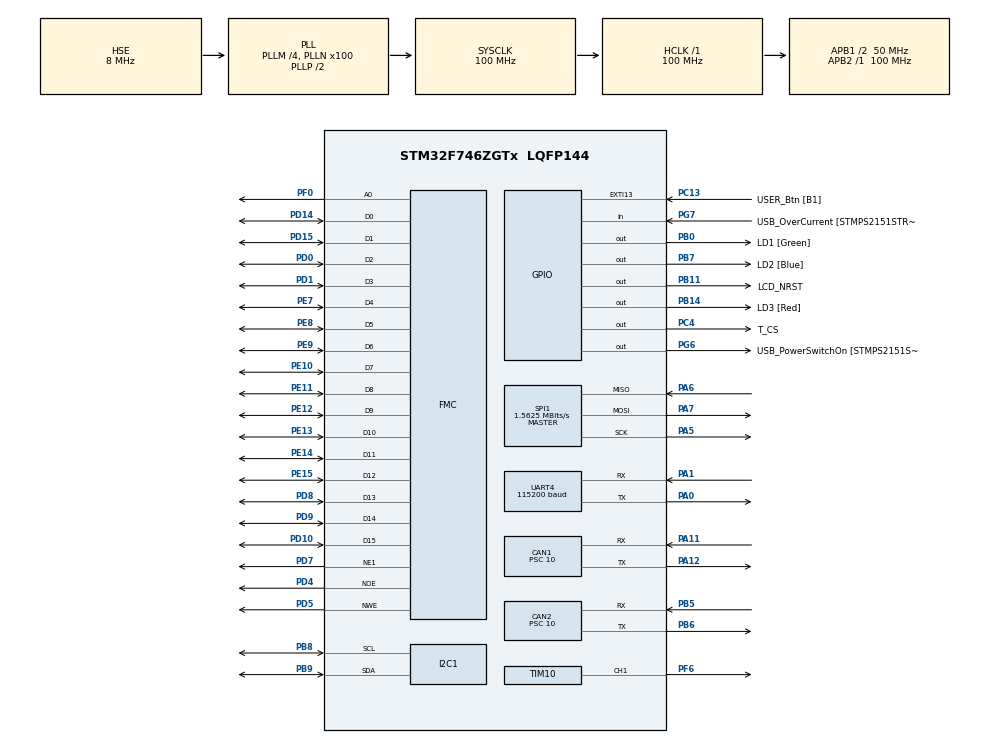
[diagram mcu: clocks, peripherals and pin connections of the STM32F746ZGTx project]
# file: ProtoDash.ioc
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CAN1.BS1=CAN_BS1_8TQ
CAN1.CalculateBaudRate=500000
CAN1.CalculateTimeBit=2000
CAN1.CalculateTimeQuantum=200.0
CAN1.Prescaler=10
CAN2.BS1=CAN_BS1_8TQ
CAN2.CalculateBaudRate=500000
CAN2.CalculateTimeBit=2000
CAN2.CalculateTimeQuantum=200.0
CAN2.Prescaler=10
FMC.AddressSetupTime1=3
FMC.BusTurnAroundDuration1=2
FMC.DataSetupTime1=2
FREERTOS.Tasks01=GUITask,24,1024,StartGUITask,Default,NULL,Dynamic,NULL,NULL;CANRxTask,40,512,StartCANRxTask,Default,NULL,Dynamic,NULL,NULL;CANTxTask,40,512,StartCANTxTask,Default,NULL,Dynamic,NULL,NULL;Heartbeat,8,512,StartHeartbeat,Default,NULL,Dynamic,NULL,NULL
FREERTOS.configCHECK_FOR_STACK_OVERFLOW=1
FREERTOS.configMINIMAL_STACK_SIZE=512
I2C1.Timing=0x00C0EAFF
Mcu.Family=STM32F7
Mcu.Name=STM32F746ZGTx
Mcu.Package=LQFP144
NVIC.CAN1_RX0_IRQn=true\:5\:0\:false\:false\:true\:true\:true\:true\:true
NVIC.PriorityGroup=NVIC_PRIORITYGROUP_4
NVIC.SPI1_IRQn=true\:5\:0\:false\:false\:true\:true\:true\:true\:true
NVIC.TIM6_DAC_IRQn=true\:15\:0\:false\:false\:true\:false\:false\:true\:true
NVIC.TimeBase=TIM6_DAC_IRQn
NVIC.TimeBaseIP=TIM6
PA0/WKUP.Mode=Asynchronous
PA0/WKUP.Signal=UART4_TX
PA1.Mode=Asynchronous
PA1.Signal=UART4_RX
PA11.Mode=CAN_Activate
PA11.Signal=CAN1_RX
PA12.Mode=CAN_Activate
PA12.Signal=CAN1_TX
PA13.GPIO_Label=TMS
PA13.Mode=Serial_Wire
PA13.Signal=SYS_JTMS-SWDIO
PA14.GPIO_Label=TCK
PA14.Mode=Serial_Wire
PA14.Signal=SYS_JTCK-SWCLK
PA5.Mode=Full_Duplex_Master
PA5.Signal=SPI1_SCK
PA6.Mode=Full_Duplex_Master
PA6.Signal=SPI1_MISO
PA7.Mode=Full_Duplex_Master
PA7.Signal=SPI1_MOSI
PB0.GPIO_Label=LD1 [Green]
PB0.Signal=GPIO_Output
PB11.GPIO_Label=LCD_NRST
PB11.Signal=GPIO_Output
PB14.GPIO_Label=LD3 [Red]
PB14.Signal=GPIO_Output
PB5.Mode=CAN_Activate
PB5.Signal=CAN2_RX
PB6.Mode=CAN_Activate
PB6.Signal=CAN2_TX
PB7.GPIO_Label=LD2 [Blue]
PB7.Signal=GPIO_Output
PB8.Mode=I2C
PB8.Signal=I2C1_SCL
PB9.Mode=I2C
PB9.Signal=I2C1_SDA
PC13.GPIO_Label=USER_Btn [B1]
PC13.Signal=GPXTI13
PC14/OSC32_IN.Mode=LSE-External-Oscillator
PC14/OSC32_IN.Signal=RCC_OSC32_IN
PC15/OSC32_OUT.Mode=LSE-External-Oscillator
PC15/OSC32_OUT.Signal=RCC_OSC32_OUT
PC4.GPIO_Label=T_CS
PC4.Signal=GPIO_Output
PD0.Signal=FMC_D2_DA2
PD1.Signal=FMC_D3_DA3
PD10.Signal=FMC_D15_DA15
PD14.Signal=FMC_D0_DA0
PD15.Signal=FMC_D1_DA1
PD4.Signal=FMC_NOE
PD5.Signal=FMC_NWE
PD7.Mode=NorPsramChipSelect1_1
PD7.Signal=FMC_NE1
PD8.Signal=FMC_D13_DA13
PD9.Signal=FMC_D14_DA14
PE10.Signal=FMC_D7_DA7
PE11.Signal=FMC_D8_DA8
PE12.Signal=FMC_D9_DA9
PE13.Signal=FMC_D10_DA10
PE14.Signal=FMC_D11_DA11
PE15.Signal=FMC_D12_DA12
PE7.Signal=FMC_D4_DA4
PE8.Signal=FMC_D5_DA5
PE9.Signal=FMC_D6_DA6
PF0.Signal=FMC_A0
PF6.Signal=S_TIM10_CH1
PG6.GPIO_Label=USB_PowerSwitchOn [STMPS2151STR_EN]
PG6.Signal=GPIO_Output
PG7.GPIO_Label=USB_OverCurrent [STMPS2151STR_FAULT]
PG7.Signal=GPIO_Input
PH0/OSC_IN.GPIO_Label=MCO [STM32F103CBT6_PA8]
PH0/OSC_IN.Mode=HSE-External-Clock-Source
PH0/OSC_IN.Signal=RCC_OSC_IN
PH1/OSC_OUT.Mode=HSE-External-Clock-Source
PH1/OSC_OUT.Signal=RCC_OSC_OUT
ProjectManager.HeapSize=0x200
ProjectManager.StackSize=0x400
ProjectManager.TargetToolchain=STM32CubeIDE
RCC.48MHZClocksFreq_Value=24000000
RCC.AHBFreq_Value=100000000
RCC.APB1CLKDivider=RCC_HCLK_DIV2
RCC.APB1Freq_Value=50000000
RCC.APB1TimFreq_Value=100000000
RCC.APB2Freq_Value=100000000
RCC.APB2TimFreq_Value=100000000
RCC.CortexFreq_Value=100000000
RCC.HCLKFreq_Value=100000000
RCC.HSE_VALUE=8000000
RCC.HSI_VALUE=16000000
RCC.PLL48CLockSelection=RCC_CLK48SOURCE_PLLSAIP
RCC.PLLM=4
RCC.PLLMUL=RCC_PLL_MUL9
RCC.PLLN=100
RCC.PLLSAIP=RCC_PLLSAIP_DIV8
RCC.PLLSourceVirtual=RCC_PLLSOURCE_HSE
RCC.PRESCALERUSB=RCC_USBCLKSOURCE_PLL_DIV1_5
RCC.SYSCLKFreq_VALUE=100000000
RCC.SYSCLKSource=RCC_SYSCLKSOURCE_PLLCLK
RCC.SYSCLKSourceVirtual=RCC_SYSCLKSOURCE_PLLCLK
RCC.USBFreq_Value=48000000
RCC.VCOOutputFreq_Value=200000000
SH.FMC_A0.0=FMC_A0,A0_1
SH.FMC_D0_DA0.0=FMC_D0,16b-d1
SH.FMC_D10_DA10.0=FMC_D10,16b-d1
SH.FMC_D11_DA11.0=FMC_D11,16b-d1
SH.FMC_D12_DA12.0=FMC_D12,16b-d1
SH.FMC_D13_DA13.0=FMC_D13,16b-d1
SH.FMC_D14_DA14.0=FMC_D14,16b-d1
SH.FMC_D15_DA15.0=FMC_D15,16b-d1
SH.FMC_D1_DA1.0=FMC_D1,16b-d1
SH.FMC_D2_DA2.0=FMC_D2,16b-d1
SH.FMC_D3_DA3.0=FMC_D3,16b-d1
SH.FMC_D4_DA4.0=FMC_D4,16b-d1
SH.FMC_D5_DA5.0=FMC_D5,16b-d1
SH.FMC_D6_DA6.0=FMC_D6,16b-d1
SH.FMC_D7_DA7.0=FMC_D7,16b-d1
SH.FMC_D8_DA8.0=FMC_D8,16b-d1
SH.FMC_D9_DA9.0=FMC_D9,16b-d1
SH.FMC_NOE.0=FMC_NOE,Lcd1
SH.FMC_NWE.0=FMC_NWE,Lcd1
SH.S_TIM10_CH1.0=TIM10_CH1,PWM Generation1 CH1
SPI1.BaudRatePrescaler=SPI_BAUDRATEPRESCALER_64
SPI1.CalculateBaudRate=1.5625 MBits/s
SPI1.DataSize=SPI_DATASIZE_8BIT
SPI1.Direction=SPI_DIRECTION_2LINES
SPI1.Mode=SPI_MODE_MASTER
SPI1.VirtualType=VM_MASTER
TIM10.Channel=TIM_CHANNEL_1
TIM10.Period=100-1
TIM10.Prescaler=120-1
UART4.BaudRate=115200
UART4.Mode=MODE_TX_RX
VP_FREERTOS_VS_CMSIS_V2.Mode=CMSIS_V2
VP_SYS_VS_tim6.Mode=TIM6
VP_TIM10_VS_ClockSourceINT.Mode=Enable_Timer
board=NUCLEO-F746ZG

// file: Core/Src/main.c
/* USER CODE BEGIN Header */
/**
  ******************************************************************************
  * @file           : main.c
  * @brief          : Main program body
  ******************************************************************************
  * @attention
  *
  * Copyright (c) 2025 STMicroelectronics.
  * All rights reserved.
  *
  * This software is licensed under terms that can be found in the LICENSE file
  * in the root directory of this software component.
  * If no LICENSE file comes with this software, it is provided AS-IS.
  *
  ******************************************************************************
  */
/* USER CODE END Header */
#include "main.h"
#include "cmsis_os.h"
#include "can.h"
#include "i2c.h"
#include "spi.h"
#include "tim.h"
#include "usart.h"
#include "gpio.h"
#include "fmc.h"

/* USER CODE BEGIN Includes */
#include "ili9341.h"

#include "lvgl.h"
#include "ui.h"
#include "indev.h"
/* USER CODE END Includes */

/* USER CODE BEGIN PD */
#define HORIZONTAL_RES 320 //px
#define VERTICAL_RES 240 //px

#define BYTES_PER_PIXEL (LV_COLOR_FORMAT_GET_SIZE(LV_COLOR_FORMAT_RGB565))
/* USER CODE END PD */

/* USER CODE BEGIN PV */
static uint8_t buf1[HORIZONTAL_RES * VERTICAL_RES / 10 * BYTES_PER_PIXEL];
/* USER CODE END PV */

void SystemClock_Config(void);
void MX_FREERTOS_Init(void);

/* USER CODE BEGIN 0 */

void display_flush_cb(lv_display_t * display, const lv_area_t * area, uint8_t * px_map)
{
    /* The most simple case (also the slowest) to send all rendered pixels to the
     * screen one-by-one. */
	lcdSetWindow(area->x1, area->y1, area->x2, area->y2);

    uint16_t * buf16 = (uint16_t *)px_map; /* Let's say it's a 16 bit (RGB565) display */
    int32_t x, y;
    for(y = area->y1; y <= area->y2; y++) {
        for(x = area->x1; x <= area->x2; x++) {
            LCD_DataWrite(*buf16);
            buf16++;
        }
    }

    /* IMPORTANT!!!
     * Inform LVGL that flushing is complete so buffer can be modified again. */
    lv_display_flush_ready(display);
}

/* USER CODE END 0 */

int main(void)
{

  /* MCU Configuration--------------------------------------------------------*/

  /* Reset of all peripherals, Initializes the Flash interface and the Systick. */
  HAL_Init();

  /* Configure the system clock */
  SystemClock_Config();

  /* Initialize all configured peripherals */
  MX_GPIO_Init();
  MX_I2C1_Init();
  MX_FMC_Init();
  MX_TIM10_Init();
  MX_UART4_Init();
  MX_CAN2_Init();
  MX_SPI1_Init();
  MX_CAN1_Init();
  /* USER CODE BEGIN 2 */

  HAL_CAN_Start(&hcan2);
  HAL_CAN_Start(&hcan1);

  HAL_EnableFMCMemorySwapping();

  //Reset LCD
  HAL_GPIO_WritePin(LCD_NRST_GPIO_Port, LCD_NRST_Pin, GPIO_PIN_RESET);
  HAL_Delay(50);
  HAL_GPIO_WritePin(LCD_NRST_GPIO_Port, LCD_NRST_Pin, GPIO_PIN_SET);
  HAL_Delay(50);

  //Initialise backlight PWM
  HAL_TIM_PWM_Start(&htim10, TIM_CHANNEL_1);
  htim10.Instance->CCR1 = 60; // 100% brightness

  lcdInit();
  lcdSetOrientation(LCD_ORIENTATION_LANDSCAPE_MIRROR);

  lv_init();
  lv_tick_set_cb(xTaskGetTickCount);

  lv_display_t * display1 = lv_display_create(HORIZONTAL_RES, VERTICAL_RES);

  lv_display_set_buffers(display1, buf1, NULL, sizeof(buf1), LV_DISPLAY_RENDER_MODE_PARTIAL);

  lv_display_set_flush_cb(display1, display_flush_cb);

  //lcdTest();

  ui_init();

  touch_init();

  //paint_demo();
  /* USER CODE END 2 */

  /* Init scheduler */
  osKernelInitialize();

  /* Call init function for freertos objects (in cmsis_os2.c) */
  MX_FREERTOS_Init();

  /* Start scheduler */
  osKernelStart();

  /* We should never get here as control is now taken by the scheduler */

  /* Infinite loop */
  while (1)
  {

  }
}

void SystemClock_Config(void)
{
  RCC_OscInitTypeDef RCC_OscInitStruct = {0};
  RCC_ClkInitTypeDef RCC_ClkInitStruct = {0};

  /** Configure LSE Drive Capability
  */
  HAL_PWR_EnableBkUpAccess();

  /** Configure the main internal regulator output voltage
  */
  __HAL_RCC_PWR_CLK_ENABLE();
  __HAL_PWR_VOLTAGESCALING_CONFIG(PWR_REGULATOR_VOLTAGE_SCALE3);

  /** Initializes the RCC Oscillators according to the specified parameters
  * in the RCC_OscInitTypeDef structure.
  */
  RCC_OscInitStruct.OscillatorType = RCC_OSCILLATORTYPE_HSE;
  RCC_OscInitStruct.HSEState = RCC_HSE_BYPASS;
  RCC_OscInitStruct.PLL.PLLState = RCC_PLL_ON;
  RCC_OscInitStruct.PLL.PLLSource = RCC_PLLSOURCE_HSE;
  RCC_OscInitStruct.PLL.PLLM = 4;
  RCC_OscInitStruct.PLL.PLLN = 100;
  RCC_OscInitStruct.PLL.PLLP = RCC_PLLP_DIV2;
  RCC_OscInitStruct.PLL.PLLQ = 2;
  if (HAL_RCC_OscConfig(&RCC_OscInitStruct) != HAL_OK)
  {
    Error_Handler();
  }

  /** Activate the Over-Drive mode
  */
  if (HAL_PWREx_EnableOverDrive() != HAL_OK)
  {
    Error_Handler();
  }

  /** Initializes the CPU, AHB and APB buses clocks
  */
  RCC_ClkInitStruct.ClockType = RCC_CLOCKTYPE_HCLK|RCC_CLOCKTYPE_SYSCLK
                              |RCC_CLOCKTYPE_PCLK1|RCC_CLOCKTYPE_PCLK2;
  RCC_ClkInitStruct.SYSCLKSource = RCC_SYSCLKSOURCE_PLLCLK;
  RCC_ClkInitStruct.AHBCLKDivider = RCC_SYSCLK_DIV1;
  RCC_ClkInitStruct.APB1CLKDivider = RCC_HCLK_DIV2;
  RCC_ClkInitStruct.APB2CLKDivider = RCC_HCLK_DIV1;

  if (HAL_RCC_ClockConfig(&RCC_ClkInitStruct, FLASH_LATENCY_3) != HAL_OK)
  {
    Error_Handler();
  }
}

void HAL_TIM_PeriodElapsedCallback(TIM_HandleTypeDef *htim)
{
  if (htim->Instance == TIM6)
  {
    HAL_IncTick();
  }
}

void Error_Handler(void)
{
  __disable_irq();
  while (1)
  {
  }
}

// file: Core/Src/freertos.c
/* USER CODE BEGIN Header */
/**
  ******************************************************************************
  * File Name          : freertos.c
  * Description        : Code for freertos applications
  ******************************************************************************
  * @attention
  *
  * Copyright (c) 2025 STMicroelectronics.
  * All rights reserved.
  *
  * This software is licensed under terms that can be found in the LICENSE file
  * in the root directory of this software component.
  * If no LICENSE file comes with this software, it is provided AS-IS.
  *
  ******************************************************************************
  */
/* USER CODE END Header */

#include "FreeRTOS.h"
#include "task.h"
#include "main.h"
#include "cmsis_os.h"

/* USER CODE BEGIN Includes */
#include "can.h"
#include "screens.h"
#include "usart.h"
#include <string.h>
/* USER CODE END Includes */

/* USER CODE BEGIN Variables */
QueueHandle_t xCanTx;
QueueHandle_t xCanRx;
SemaphoreHandle_t xCanDataMutex;
/* USER CODE END Variables */
/* Definitions for GUITask */
osThreadId_t GUITaskHandle;
const osThreadAttr_t GUITask_attributes = {
  .name = "GUITask",
  .stack_size = 1024 * 4,
  .priority = (osPriority_t) osPriorityNormal,
};
/* Definitions for CANRxTask */
osThreadId_t CANRxTaskHandle;
const osThreadAttr_t CANRxTask_attributes = {
  .name = "CANRxTask",
  .stack_size = 512 * 4,
  .priority = (osPriority_t) osPriorityHigh,
};
/* Definitions for CANTxTask */
osThreadId_t CANTxTaskHandle;
const osThreadAttr_t CANTxTask_attributes = {
  .name = "CANTxTask",
  .stack_size = 512 * 4,
  .priority = (osPriority_t) osPriorityHigh,
};
/* Definitions for Heartbeat */
osThreadId_t HeartbeatHandle;
const osThreadAttr_t Heartbeat_attributes = {
  .name = "Heartbeat",
  .stack_size = 512 * 4,
  .priority = (osPriority_t) osPriorityLow,
};

/* USER CODE BEGIN FunctionPrototypes */
static uint16_t decode16(const uint8_t *data, uint8_t start_byte);
/* USER CODE END FunctionPrototypes */

void StartGUITask(void *argument);
void StartCANRxTask(void *argument);
void StartCANTxTask(void *argument);
void StartHeartbeat(void *argument);

void MX_FREERTOS_Init(void); /* (MISRA C 2004 rule 8.1) */

/* Hook prototypes */
void vApplicationStackOverflowHook(xTaskHandle xTask, signed char *pcTaskName);

/* USER CODE BEGIN 4 */
void vApplicationStackOverflowHook(xTaskHandle xTask, signed char *pcTaskName)
{
   /* Run time stack overflow checking is performed if
   configCHECK_FOR_STACK_OVERFLOW is defined to 1 or 2. This hook function is
   called if a stack overflow is detected. */
}
/* USER CODE END 4 */

void MX_FREERTOS_Init(void) {

  /* USER CODE BEGIN RTOS_MUTEX */
  /* add mutexes, ... */
	xCanDataMutex = xSemaphoreCreateMutex();
  /* USER CODE END RTOS_MUTEX */

  /* USER CODE BEGIN RTOS_QUEUES */
  /* add queues, ... */

	xCanRx = xQueueCreate(32, sizeof(CANMessage_t));
	xCanTx = xQueueCreate(16, sizeof(CANMessage_t));

  /* USER CODE END RTOS_QUEUES */

  /* Create the thread(s) */
  /* creation of GUITask */
  GUITaskHandle = osThreadNew(StartGUITask, NULL, &GUITask_attributes);

  /* creation of CANRxTask */
  CANRxTaskHandle = osThreadNew(StartCANRxTask, NULL, &CANRxTask_attributes);

  /* creation of CANTxTask */
  CANTxTaskHandle = osThreadNew(StartCANTxTask, NULL, &CANTxTask_attributes);

  /* creation of Heartbeat */
  HeartbeatHandle = osThreadNew(StartHeartbeat, NULL, &Heartbeat_attributes);

}

void StartGUITask(void *argument)
{
  /* USER CODE BEGIN StartGUITask */
  /* Infinite loop */
  for(;;)
  {
	  //lock access to shared data
	  xSemaphoreTake(xCanDataMutex, portMAX_DELAY);

	  //take snapshot of data and calculate factors
	  uint16_t current = dashboardData.BMS_Pack_Current * 0.1;
	  uint16_t voltage = dashboardData.BMS_Pack_Inst_voltage * 0.1;
	  uint8_t soc = dashboardData.BMS_Pack_SOC * 0.5;
	  uint8_t hi_temp = dashboardData.BMS_High_Temperature;
	  uint8_t lo_temp = dashboardData.BMS_Low_Temperature;
	  uint8_t avg_temp = dashboardData.BMS_Average_Temperature;
	  uint8_t int_temp = dashboardData.BMS_Internal_Temperature;
	  uint8_t vcu_state = dashboardData.VCU_CTRL_State;
	  uint8_t vcu_fan = dashboardData.VCU_Fan_Enable;
	  uint8_t vcu_pump = dashboardData.VCU_Pump_Enable;

	  //unlock shared data
	  xSemaphoreGive(xCanDataMutex);

	  //Update GUI objects with formatted text
	  char buf[32];

	  sprintf(buf, "%03uA", current);
	  lv_label_set_text(objects.bms_pack_current, buf);
	  sprintf(buf, "%03uV", voltage);
	  lv_label_set_text(objects.bms_pack_voltage, buf);
	  sprintf(buf, "%02u%%", soc);
	  lv_label_set_text(objects.bms_soc, buf);
	  sprintf(buf, "%02u°C", hi_temp);
	  lv_label_set_text(objects.bms_hi_temp, buf);
	  sprintf(buf, "%02u°C", lo_temp);
	  lv_label_set_text(objects.bms_lo_temp, buf);
	  sprintf(buf, "%02u°C", avg_temp);
	  lv_label_set_text(objects.bms_avg_temp, buf);
	  sprintf(buf, "%02u°C", int_temp);
	  lv_label_set_text(objects.bms_int_temp, buf);
	  sprintf(buf, "%1u", vcu_state);
	  lv_label_set_text(objects.vcu_ctrl_state, buf);
	  sprintf(buf, "%1u", vcu_fan);
	  lv_label_set_text(objects.vcu_fan_enable, buf);
	  sprintf(buf, "%1u", vcu_pump);
	  lv_label_set_text(objects.vcu_pump_enable, buf);

	  //LVGL Housekeeping
	  lv_timer_handler_run_in_period(5);

	  //Give RTOS time to do other tasks
	  vTaskDelay(pdMS_TO_TICKS(50));  // update GUI every 50ms
  }
  /* USER CODE END StartGUITask */
}

void StartCANRxTask(void *argument)
{
  /* USER CODE BEGIN StartCANRxTask */
	  if (HAL_CAN_ActivateNotification(&hcan2, CAN_IT_RX_FIFO0_MSG_PENDING) != HAL_OK) // Activate Rx message interrupt
	  {
		  Error_Handler();
	  }

	  CANMessage_t msg;
  /* Infinite loop */
  for(;;)
  {
    if(xQueueReceive(xCanRx, &msg, portMAX_DELAY) == pdPASS)
    {

    	xSemaphoreTake(xCanDataMutex, portMAX_DELAY);
    	//Parse CAN messages and update shared data
    	switch(msg.id)
    	{
    	case 0x201:
    				dashboardData.BMS_Pack_Current = decode16(msg.data, 1);      // Start bit 8, 16 bits
    				dashboardData.BMS_Pack_Inst_voltage = decode16(msg.data, 3); // Start bit 24, 16 bits
    				dashboardData.BMS_Pack_SOC = msg.data[4]; 					 // Start bit 32, 8 bits
    				break;
    	case 0x202:
    				dashboardData.BMS_High_Temperature = msg.data[0];    		 // Start bit 0, 8 bits
    				dashboardData.BMS_Low_Temperature = msg.data[1];    		 // Start bit 8, 8 bits
    				dashboardData.BMS_Average_Temperature = msg.data[2];		 // Start bit 16, 8 bits
    				dashboardData.BMS_Internal_Temperature = msg.data[3]; 		 // Start bit 24, 8 bits
    				break;
    	case 0x104:
    				dashboardData.VCU_Inverter_Enable = msg.data[0];			 // Start bit 0, 8 bits
    				dashboardData.VCU_Pump_Enable = msg.data[1];				 // Start bit 8, 8 bits
    				dashboardData.VCU_Fan_Enable = msg.data[3];					 // Start bit 24, 8 bits
    				break;
    	case 0x101:
    				dashboardData.VCU_CTRL_State = msg.data[2]; 				 //Start bit 16, 8 bits
    				dashboardData.VCU_Power_saving = msg.data[3] >> 3; 			 //Start bit 27, 1 bit
    				break;
    	}
    	xSemaphoreGive(xCanDataMutex);
    }
  }
  /* USER CODE END StartCANRxTask */
}

void StartCANTxTask(void *argument)
{
  /* USER CODE BEGIN StartCANTxTask */
	CANMessage_t msg;
  /* Infinite loop */
  for(;;)
  {
	  if(xQueueReceive(xCanTx, &msg, portMAX_DELAY) == pdPASS)
	  {
		  SendCANMessage(&msg);
	  }

  }
  /* USER CODE END StartCANTxTask */
}

void StartHeartbeat(void *argument)
{
  /* USER CODE BEGIN StartHeartbeat */
  /* Infinite loop */
    CANMessage_t msg = {
        .id = 0x001,
        .dlc = 8,
        .data = {0}
    };

  for(;;)
  {
    osDelay(pdMS_TO_TICKS(1000));
    xQueueSend(xCanTx, &msg, portMAX_DELAY);
    msg.data[0] ^= 1;
    HAL_GPIO_TogglePin(LD3_GPIO_Port, LD3_Pin);

    char tmsg[] = "Hello from Xbee!\r\n";
    HAL_UART_Transmit(&huart4, (uint8_t*)tmsg, strlen(tmsg), HAL_MAX_DELAY);
  }
  /* USER CODE END StartHeartbeat */
}

/* USER CODE BEGIN Application */
static uint16_t decode16(const uint8_t *data, uint8_t start_byte)
{
    return (data[start_byte] << 8) | data[start_byte + 1];
}
/* USER CODE END Application */
